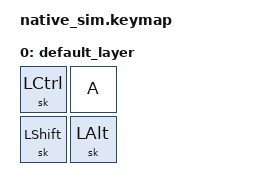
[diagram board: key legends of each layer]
#include <dt-bindings/zmk/keys.h>
#include <behaviors.dtsi>
#include <dt-bindings/zmk/kscan_mock.h>

/* this test ensures that timing out while the other key is being held results in correct behavior */

&sk {
    lazy;
    release-after-ms = <50>;
};

/ {
    keymap {
        compatible = "zmk,keymap";

        default_layer {
            bindings = <&sk LEFT_CONTROL &kp A
                        &sk LEFT_SHIFT &sk LEFT_ALT>;
        };
    };
};

&kscan {
    events = <
              /* tap sk LEFT_CONTROL */
              ZMK_MOCK_PRESS(0,0,10)
              ZMK_MOCK_RELEASE(0,0,10)
              /* tap A */
              ZMK_MOCK_PRESS(0,1,60)
              ZMK_MOCK_RELEASE(0,1,10)
              /* tap A */
              ZMK_MOCK_PRESS(0,1,10)
              ZMK_MOCK_RELEASE(0,1,10)>;
};
